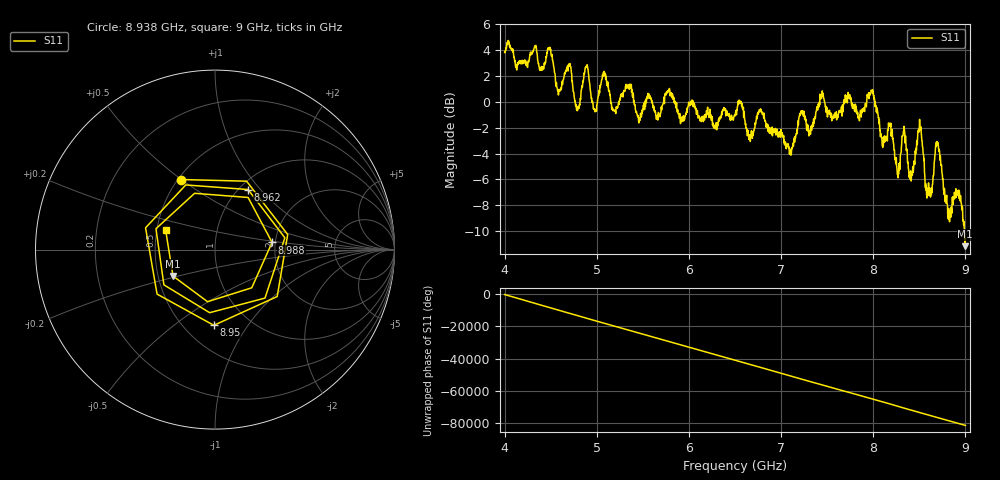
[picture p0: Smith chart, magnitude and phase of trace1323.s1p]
! Created with skrf 1.8.0 (http://scikit-rf.org).
# Hz S RI R 50.0
!freq ReS11 ImS11
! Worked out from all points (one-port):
!   1601 points, 4 GHz to 9 GHz, reference 50 ohm
!   lowest |S11| = -11.2 dB at 8.997 GHz (marker M1), VSWR 1.76, Z = 29.9 - j9.54 ohm
!   |S11| at or under -10 dB: 8.988485 GHz to end of sweep
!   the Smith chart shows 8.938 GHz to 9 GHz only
!   S11 on the Smith chart (normalised r, x): 8.938 GHz: 0.52, +0.50; 8.95 GHz: 0.69, -0.71; 8.962 GHz: 1.10, +0.86; 8.988 GHz: 1.92, +0.17; 9 GHz: 0.56, +0.13
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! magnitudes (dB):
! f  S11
! 4 GHz  3.9
! 4.491 GHz  4.0
! 4.625 GHz  1.6
! 4.703 GHz  2.8
! 4.794 GHz  -0.5
! 4.888 GHz  2.8
! 4.972 GHz  -0.5
! 5.075 GHz  2.3
! 5.25 GHz  0.1
! 5.875 GHz  -0.8
! 6.5 GHz  -1.1
! 7.125 GHz  -3.4
! 7.441 GHz  0.5
! 7.75 GHz  0.4
! 7.988 GHz  0.9
! 8.1 GHz  -3.4
! 8.375 GHz  -4.7
! 8.416 GHz  -5.6
! 8.506 GHz  -1.8
! 8.597 GHz  -7.0
! 8.697 GHz  -3.1
! 8.816 GHz  -9.1
! 8.938 GHz  -7.2
! 8.95 GHz  -7.5
! 8.962 GHz  -8.4
! 8.988 GHz  -9.9
! 8.997 GHz  -11.2
! 9 GHz  -10.6
